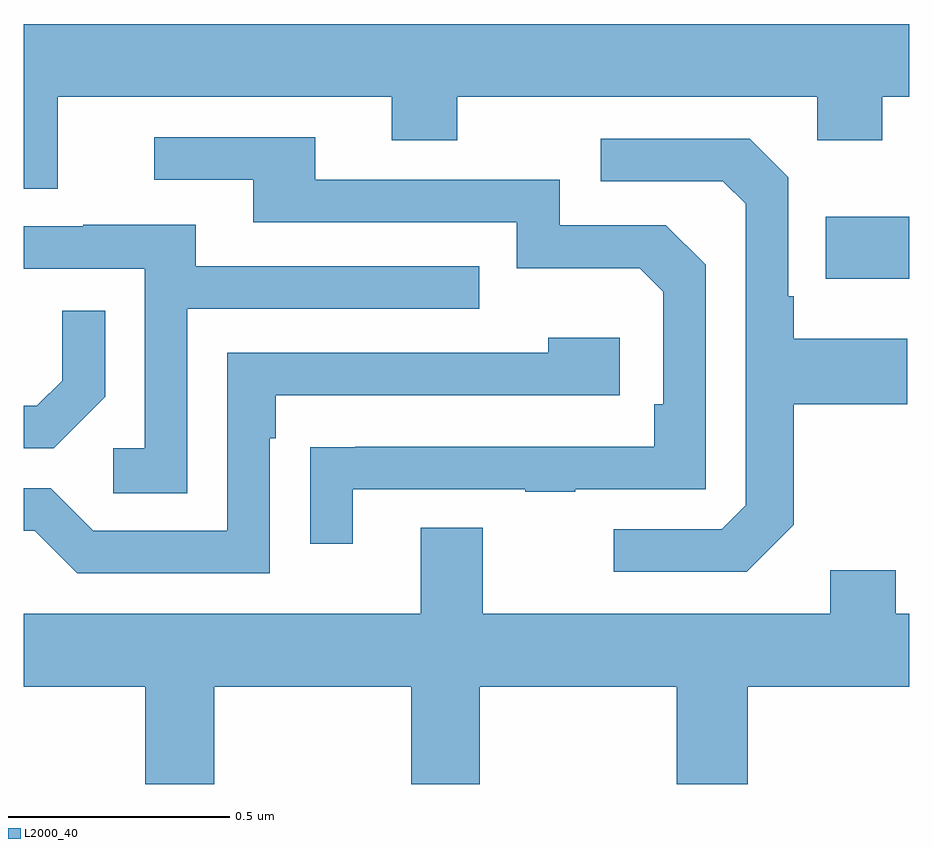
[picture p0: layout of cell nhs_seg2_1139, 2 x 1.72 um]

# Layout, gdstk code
import gdstk
lib = gdstk.Library(unit=1e-6, precision=1e-09)
def R(c, l, rs):  # rectangles x0, y0, x1, y1
    for r in rs: c.add(gdstk.rectangle(r[:2], r[2:], *l))
def P(c, l, *ps):  # polygons
    for p in ps: c.add(gdstk.Polygon(p, *l))
L2000_40 = (2000, 40)

nhs_seg2_1139 = lib.new_cell('nhs_seg2_1139')
R(nhs_seg2_1139, L2000_40, [(126.811,597.941,127,598.081)])
P(nhs_seg2_1139, L2000_40, [(125.077,598.352),(125.831,598.352),(125.831,598.253),(125.979,598.253),(125.979,598.352),(126.792,598.352),(126.792,598.253),(126.939,598.253),(126.939,598.352),(127,598.352),(127,598.516),(125,598.516),(125,598.144),(125.077,598.144)],
  [(125.743,597.465),(126.133,597.465),(126.133,597.46),(126.245,597.46),(126.245,597.465),(126.54,597.465),(126.54,597.972),(126.45,598.062),(126.21,598.062),(126.21,598.164),(125.659,598.164),(125.659,598.26),(125.295,598.26),(125.295,598.164),(125.519,598.164),(125.519,598.068),(126.114,598.068),(126.114,597.965),(126.391,597.965),(126.444,597.912),(126.444,597.658),(126.424,597.658),(126.424,597.561),(125.749,597.561),(125.749,597.56),(125.647,597.56),(125.647,597.342),(125.743,597.342)],
  [(126.739,597.385),(126.739,597.658),(126.995,597.658),(126.995,597.805),(126.739,597.805),(126.739,597.901),(126.726,597.901),(126.726,598.17),(126.639,598.257),(126.303,598.257),(126.303,598.161),(126.579,598.161),(126.63,598.11),(126.63,597.429),(126.576,597.375),(126.333,597.375),(126.333,597.279),(126.633,597.279)],
  [(125.37,597.873),(126.029,597.873),(126.029,597.969),(125.389,597.969),(125.389,598.063),(125.135,598.063),(125.135,598.059),(125,598.059),(125,597.963),(125.274,597.963),(125.274,597.558),(125.202,597.558),(125.202,597.457),(125.37,597.457)],
  [(125.184,597.674),(125.184,597.868),(125.087,597.868),(125.087,597.711),(125.03,597.654),(125,597.654),(125,597.558),(125.068,597.558)],
  [(125.556,597.581),(125.569,597.581),(125.569,597.678),(126.346,597.678),(126.346,597.808),(126.185,597.808),(126.185,597.774),(125.46,597.774),(125.46,597.372),(125.157,597.372),(125.061,597.468),(125,597.468),(125,597.372),(125.025,597.372),(125.121,597.276),(125.556,597.276)],
  [(125.43,597.02),(125.875,597.02),(125.875,596.8),(126.03,596.8),(126.03,597.02),(126.475,597.02),(126.475,596.8),(126.635,596.8),(126.635,597.02),(127,597.02),(127,597.184),(126.969,597.184),(126.969,597.283),(126.821,597.283),(126.821,597.184),(126.037,597.184),(126.037,597.379),(125.897,597.379),(125.897,597.184),(125,597.184),(125,597.02),(125.275,597.02),(125.275,596.8),(125.43,596.8)])

lib.write_gds('nhs_seg2_1139.gds')
